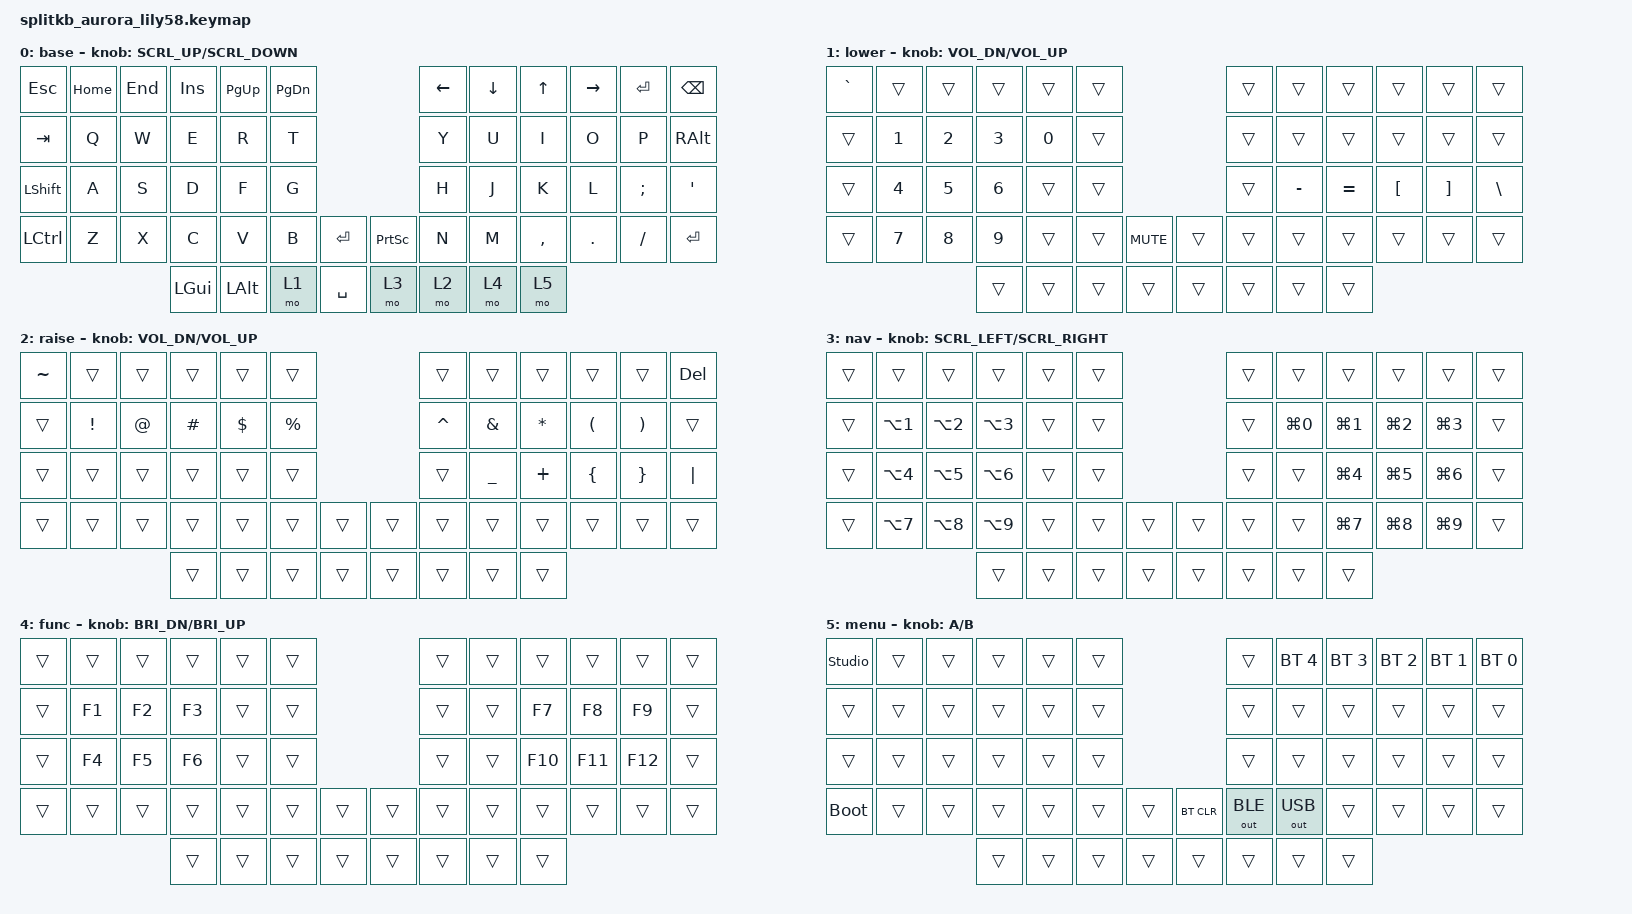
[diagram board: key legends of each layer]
// #define ZMK_MOUSE_DEFAULT_SCRL_VAL 140
#define ZMK_POINTING_DEFAULT_SCRL_VAL 140

#include <behaviors.dtsi>
#include <dt-bindings/zmk/keys.h>
#include <dt-bindings/zmk/pointing.h>
#include <dt-bindings/zmk/bt.h>
#include <dt-bindings/zmk/outputs.h>

&sensors {
  triggers-per-rotation = <38>;
};

/ {
    behaviors {
        rot_msc: behavior_sensor_rotate_mouse {
            compatible = "zmk,behavior-sensor-rotate-var";
            #sensor-binding-cells = <2>;
            bindings = <&msc>, <&msc>;
            tap-ms = <25>;
        };
    };

    keymap {
        compatible = "zmk,keymap";

        base {
            bindings = <
   &kp ESC  &kp HOME  &kp END  &kp INSERT  &kp PG_UP  &kp PG_DN                              &kp LEFT  &kp DOWN     &kp UP  &kp RIGHT   &kp RET     &kp BACKSPACE
   &kp TAB     &kp Q    &kp W       &kp E      &kp R      &kp T                                 &kp Y     &kp U      &kp I      &kp O     &kp P          &kp RALT
&kp LSHIFT     &kp A    &kp S       &kp D      &kp F      &kp G                                 &kp H     &kp J      &kp K      &kp L  &kp SEMI  &kp SINGLE_QUOTE
 &kp LCTRL     &kp Z    &kp X       &kp C      &kp V      &kp B    &kp RET  &kp PRINTSCREEN     &kp N     &kp M  &kp COMMA    &kp DOT  &kp FSLH           &kp RET
                                 &kp LGUI   &kp LALT      &mo 1  &kp SPACE            &mo 3     &mo 2     &mo 4      &mo 5
            >;

            sensor-bindings = <&rot_msc SCRL_UP SCRL_DOWN>;
        };

        lower {
            bindings = <
&kp GRAVE        &trans        &trans        &trans        &trans  &trans                      &trans     &trans     &trans            &trans             &trans         &trans
   &trans  &kp NUMBER_1  &kp NUMBER_2  &kp NUMBER_3  &kp NUMBER_0  &trans                      &trans     &trans     &trans            &trans             &trans         &trans
   &trans  &kp NUMBER_4  &kp NUMBER_5  &kp NUMBER_6        &trans  &trans                      &trans  &kp MINUS  &kp EQUAL  &kp LEFT_BRACKET  &kp RIGHT_BRACKET  &kp BACKSLASH
   &trans  &kp NUMBER_7  &kp NUMBER_8  &kp NUMBER_9        &trans  &trans  &kp C_MUTE  &trans  &trans     &trans     &trans            &trans             &trans         &trans
                                             &trans        &trans  &trans      &trans  &trans  &trans     &trans     &trans
            >;

            sensor-bindings = <&inc_dec_kp C_VOL_DN C_VOL_UP>;
        };

        raise {
            bindings = <
&kp TILDE    &trans  &trans    &trans      &trans       &trans                     &trans          &trans        &trans                &trans                 &trans   &kp DEL
   &trans  &kp EXCL  &kp AT  &kp HASH  &kp DOLLAR  &kp PERCENT                  &kp CARET   &kp AMPERSAND  &kp ASTERISK  &kp LEFT_PARENTHESIS  &kp RIGHT_PARENTHESIS    &trans
   &trans    &trans  &trans    &trans      &trans       &trans                     &trans  &kp UNDERSCORE      &kp PLUS        &kp LEFT_BRACE        &kp RIGHT_BRACE  &kp PIPE
   &trans    &trans  &trans    &trans      &trans       &trans  &trans  &trans     &trans          &trans        &trans                &trans                 &trans    &trans
                               &trans      &trans       &trans  &trans  &trans     &trans          &trans        &trans
            >;

            sensor-bindings = <&inc_dec_kp C_VOL_DN C_VOL_UP>;
        };

        nav {
            bindings = <
&trans            &trans            &trans            &trans  &trans  &trans                  &trans            &trans            &trans            &trans            &trans  &trans
&trans  &kp LA(NUMBER_1)  &kp LA(NUMBER_2)  &kp LA(NUMBER_3)  &trans  &trans                  &trans  &kp LG(NUMBER_0)  &kp LG(NUMBER_1)  &kp LG(NUMBER_2)  &kp LG(NUMBER_3)  &trans
&trans  &kp LA(NUMBER_4)  &kp LA(NUMBER_5)  &kp LA(NUMBER_6)  &trans  &trans                  &trans            &trans  &kp LG(NUMBER_4)  &kp LG(NUMBER_5)  &kp LG(NUMBER_6)  &trans
&trans  &kp LA(NUMBER_7)  &kp LA(NUMBER_8)  &kp LA(NUMBER_9)  &trans  &trans  &trans  &trans  &trans            &trans  &kp LG(NUMBER_7)  &kp LG(NUMBER_8)  &kp LG(NUMBER_9)  &trans
                                                      &trans  &trans  &trans  &trans  &trans  &trans            &trans            &trans
            >;

            sensor-bindings = <&rot_msc SCRL_LEFT SCRL_RIGHT>;
        };

        func {
            bindings = <
&trans  &trans  &trans  &trans  &trans  &trans                  &trans  &trans   &trans   &trans   &trans  &trans
&trans  &kp F1  &kp F2  &kp F3  &trans  &trans                  &trans  &trans   &kp F7   &kp F8   &kp F9  &trans
&trans  &kp F4  &kp F5  &kp F6  &trans  &trans                  &trans  &trans  &kp F10  &kp F11  &kp F12  &trans
&trans  &trans  &trans  &trans  &trans  &trans  &trans  &trans  &trans  &trans   &trans   &trans   &trans  &trans
                        &trans  &trans  &trans  &trans  &trans  &trans  &trans   &trans
            >;

            sensor-bindings = <&inc_dec_kp C_BRI_DN C_BRI_UP>;
        };

        menu {
            bindings = <
&studio_unlock &trans  &trans  &trans  &trans  &trans                            &trans  &bt BT_SEL 4  &bt BT_SEL 3  &bt BT_SEL 2  &bt BT_SEL 1  &bt BT_SEL 0
&trans         &trans  &trans  &trans  &trans  &trans                            &trans        &trans        &trans        &trans        &trans        &trans
&trans         &trans  &trans  &trans  &trans  &trans                            &trans        &trans        &trans        &trans        &trans        &trans
&bootloader    &trans  &trans  &trans  &trans  &trans  &trans  &bt BT_CLR  &out OUT_BLE  &out OUT_USB        &trans        &trans        &trans        &trans
                             &trans  &trans  &trans  &trans      &trans        &trans        &trans        &trans
            >;

            sensor-bindings = <&inc_dec_kp A B>;
        };
    };
};
